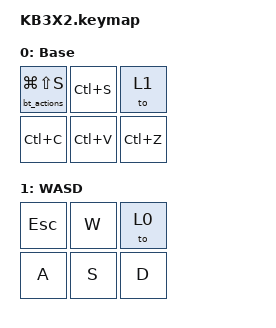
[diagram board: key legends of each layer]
#include <behaviors.dtsi>
#include <dt-bindings/zmk/keys.h>
#include <dt-bindings/zmk/bt.h>

/ {
    macros {
        bt_actions: bt_actions {
            compatible = "zmk,behavior-macro";
            #binding-cells = <0>;
            wait-ms = <100>;

            bindings
                = <&bt BT_DISC 0>
                , <&bt BT_SEL 0>
                , <&bt BT_CLR>
                ;
        };
    };

    behaviors {
        bt_holdtap: bt_holdtap {
            compatible = "zmk,behavior-hold-tap";
            #binding-cells = <2>;

            flavor = "tap-preferred";
            tapping-term-ms = <500>;
            quick-tap-ms = <175>;

            bindings = <&bt_actions>, <&kp>;
        };
    };

    keymap {
        compatible = "zmk,keymap";
        
        default_layer{
            display-name = "Base";
// ----------------------------------------------
// | 清除BT配對 & Windows截圖 | Ctrl+S      | 切換 Layer 1 |
// | Ctrl+C                  | Ctrl+V      | Ctrl+Z       |

            bindings = <
                &bt_holdtap 0 LG(LS(S))    &kp LC(S)     &to 1
                &kp LC(C)                  &kp LC(V)     &kp LC(Z) 
            >;
        };

        wasd { // Layer 1
            display-name = "WASD";
// ----------------------------------------------
// | Esc  | Up   | 切換 Layer 0 |
// | Left | Down | Right        |

            bindings = <
                &kp ESC     &kp W      &to 0
                &kp A       &kp S      &kp D
            >;
        };
    };
};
